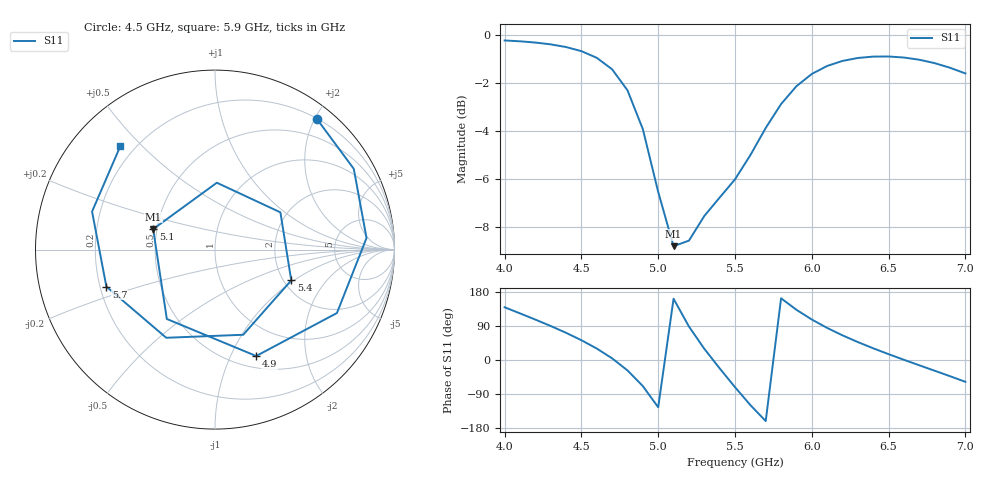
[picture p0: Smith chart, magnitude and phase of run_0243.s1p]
! Touchstone file exported from HFSS 2024.2.0
!  File:  C:/Users/wsak9/Desktop/Sim Fast/Widenad Patch/WP_AI_V1_sweep.aedt
!  Generated:  01:12:10 AM Oct 14, 2026
!  Design:  A1_model
!  Project:  WP_AI_V1_sweep
!  Setup:  Setup1
!  Solution:  Sweep
! Variables:
!  Air_gap = 1.9mm
!  Curve_Amp1 = 2.45
!  Curve_len1 = 1
!  Curve_pos = 10.995mm
!  Extra = 1.76mm
!  H_sub = 0.79mm
!  L_Patch = 17.99mm
!  L_Patch1 = 12.11mm
!  Sx = 4.72mm
!  Sy = 1.12mm
!  WS = 1.11mm
!  W_Patch = 18.26mm
!  W_Patch1 = 10.35mm
!Data is not renormalized
# GHz S MA
! Terminal data exported
! Port[1] = 1
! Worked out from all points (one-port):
!   31 points, 4 GHz to 7 GHz, reference per port
!   lowest |S11| = -8.8 dB at 5.1 GHz (marker M1), VSWR 2.14
!   |S11| at or under -10 dB: nowhere
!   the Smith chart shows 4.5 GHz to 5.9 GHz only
!   S11 on the Smith chart (normalised r, x): 4.5 GHz: 0.20, +2.02; 4.9 GHz: 0.63, -1.25; 5.1 GHz: 0.48, +0.13; 5.4 GHz: 2.19, -0.95; 5.7 GHz: 0.23, -0.16; 5.9 GHz: 0.15, +0.43
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4  0.9722 139.2
4.2  0.9625 106.7
4.3  0.9542 89.7
4.4  0.9421 71.7
4.5  0.9237 52.2
4.6  0.8947 30.2
4.7  0.8467 4.4
4.8  0.7658 -27.5
4.9  0.6358 -68.8
5  0.4706 -124.8
5.1  0.363 161.6
5.2  0.3727 88.4
5.3  0.4194 29.7
5.4  0.4581 -22.0
5.5  0.4999 -71.7
5.6  0.5613 -118.9
5.7  0.6394 -161.2
5.8  0.7169 162.8
5.9  0.781 132.5
6  0.8281 106.8
6.1  0.8605 84.6
6.2  0.8815 65.0
6.3  0.894 47.3
6.4  0.8999 30.9
6.5  0.9004 15.4
6.7  0.8865 -14.0
6.8  0.8721 -28.3
7  0.8303 -57.6
